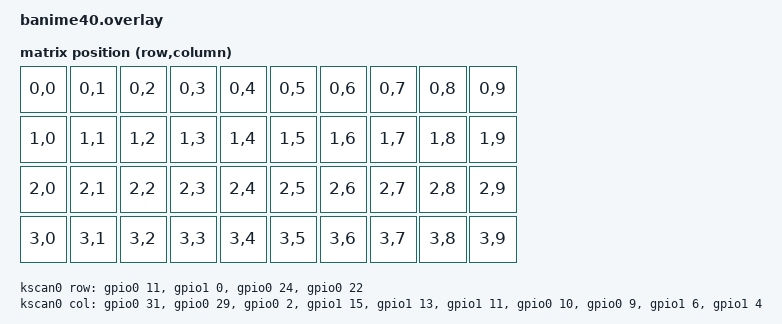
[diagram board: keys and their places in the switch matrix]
#include <dt-bindings/zmk/matrix_transform.h>

/ {
    chosen {
        zmk,kscan = &kscan0;
        zmk,matrix_transform = &default_transform;
    };

    default_transform: keymap_transform_0 {
        compatible = "zmk,matrix-transform";
        columns = <10>;
        rows = <4>;
        
        // QMK layout là full ortho 4x10 = 40 keys
        map = <
            RC(0,0) RC(0,1) RC(0,2) RC(0,3) RC(0,4) RC(0,5) RC(0,6) RC(0,7) RC(0,8) RC(0,9)
            RC(1,0) RC(1,1) RC(1,2) RC(1,3) RC(1,4) RC(1,5) RC(1,6) RC(1,7) RC(1,8) RC(1,9)
            RC(2,0) RC(2,1) RC(2,2) RC(2,3) RC(2,4) RC(2,5) RC(2,6) RC(2,7) RC(2,8) RC(2,9)
            RC(3,0) RC(3,1) RC(3,2) RC(3,3) RC(3,4) RC(3,5) RC(3,6) RC(3,7) RC(3,8) RC(3,9)
        >;
    };

    kscan0: kscan {
        compatible = "zmk,kscan-gpio-matrix";
        label = "KSCAN";

        diode-direction = "col2row"; // Đúng theo QMK
        
        // Convert QMK pins (Pro Micro) sang Nice!Nano pins
        // QMK: E6, D7, C6, D4 → Nice!Nano equivalent
        row-gpios
            = <&gpio0 11 (GPIO_ACTIVE_HIGH | GPIO_PULL_DOWN)> // ROW0 (E6)
            , <&gpio1 0  (GPIO_ACTIVE_HIGH | GPIO_PULL_DOWN)> // ROW1 (D7)
            , <&gpio0 24 (GPIO_ACTIVE_HIGH | GPIO_PULL_DOWN)> // ROW2 (C6)
            , <&gpio0 22 (GPIO_ACTIVE_HIGH | GPIO_PULL_DOWN)> // ROW3 (D4)
            ;

        // QMK: B4, B5, B6, B2, B3, B1, F7, F6, F5, F4 → Nice!Nano equivalent
        col-gpios
            = <&gpio0 31 GPIO_ACTIVE_HIGH> // COL0 (B4)
            , <&gpio0 29 GPIO_ACTIVE_HIGH> // COL1 (B5)
            , <&gpio0 2  GPIO_ACTIVE_HIGH> // COL2 (B6)
            , <&gpio1 15 GPIO_ACTIVE_HIGH> // COL3 (B2)
            , <&gpio1 13 GPIO_ACTIVE_HIGH> // COL4 (B3)
            , <&gpio1 11 GPIO_ACTIVE_HIGH> // COL5 (B1)
            , <&gpio0 10 GPIO_ACTIVE_HIGH> // COL6 (F7)
            , <&gpio0 9  GPIO_ACTIVE_HIGH> // COL7 (F6)
            , <&gpio1 6  GPIO_ACTIVE_HIGH> // COL8 (F5)
            , <&gpio1 4  GPIO_ACTIVE_HIGH> // COL9 (F4)
            ;
    };
};
